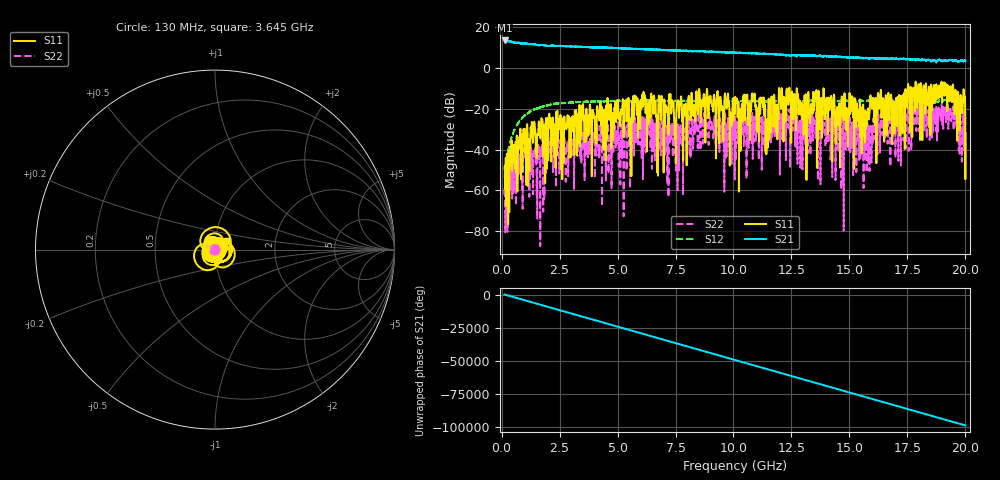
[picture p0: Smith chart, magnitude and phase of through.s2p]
!Created with skrf (http://scikit-rf.org).
# GHz S RI R 50.0
!freq ReS11 ImS11 ReS21 ImS21 ReS12 ImS12 ReS22 ImS22
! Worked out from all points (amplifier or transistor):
!   20013 points, 130 MHz to 20 GHz, reference 50 ohm
!   highest |S21| = 13.5 dB at 134 MHz (marker M1)
!   |S21| within 3 dB of that: start of sweep to 3.07 GHz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
!   unconditionally stable (mu >= 1): start of sweep to end of sweep
!   at 3.465 GHz: K = 1.26, MAG = 10.4 dB, |S12| = -16.6 dB
!   at 10.14 GHz: K = 1.52, MAG = 7.6 dB, |S12| = -16.3 dB
!   at 20 GHz: K = 2.09, MAG = 3.6 dB, |S12| = -15.5 dB
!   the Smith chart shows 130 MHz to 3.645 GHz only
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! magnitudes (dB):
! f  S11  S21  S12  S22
! 130 MHz  -49.6  13.5  -53.5  -61.3
! 134 MHz  -48.4  13.5  -53.2  -60.2
! 957 MHz  -31.3  12.1  -23.7  -39.6
! 3.442 GHz  -24.5  10.3  -16.6  -46.1
! 5.384 GHz  -24.6  9.5  -16.2  -38.7
! 5.575 GHz  -28.8  9.4  -16.2  -36.0
! 6.098 GHz  -18.7  9.3  -16.1  -39.5
! 6.754 GHz  -24.4  8.9  -16.1  -34.1
! 6.866 GHz  -23.6  8.9  -16.1  -42.9
! 7.465 GHz  -33.3  8.6  -16.2  -37.1
! 10.06 GHz  -14.9  7.5  -16.3  -28.4
! 10.3 GHz  -40.7  7.5  -16.2  -28.1
! 10.5 GHz  -19.4  7.4  -16.2  -29.9
! 11.22 GHz  -15.7  7.0  -16.3  -49.9
! 11.46 GHz  -25.2  6.9  -16.3  -30.6
! 12.04 GHz  -19.4  6.6  -16.2  -35.8
! 13.38 GHz  -20.1  6.1  -16.0  -24.8
! 15.08 GHz  -18.7  5.1  -16.1  -38.6
! 15.7 GHz  -23.9  4.9  -16.1  -33.5
! 16.69 GHz  -12.7  4.4  -16.2  -22.5
! 19.11 GHz  -12.9  3.8  -15.5  -21.5
! 20 GHz  -32.0  3.5  -15.5  -24.1
